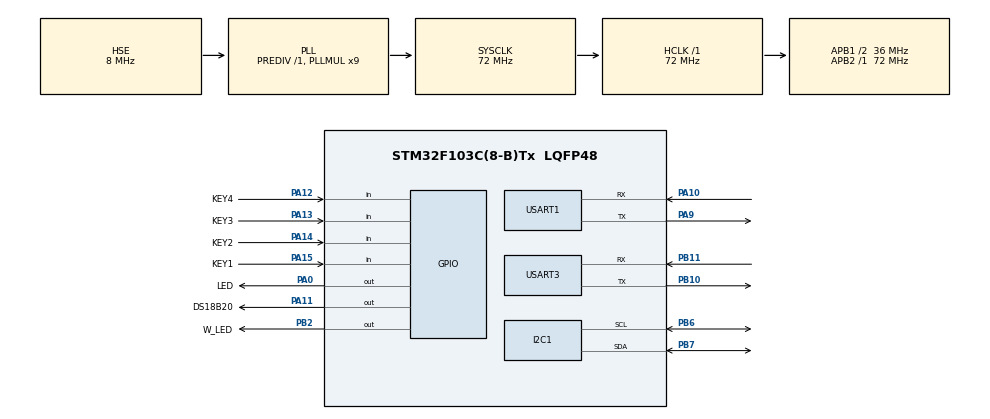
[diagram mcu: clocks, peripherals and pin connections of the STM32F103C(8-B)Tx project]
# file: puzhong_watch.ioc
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Dma.Request0=USART3_RX
Dma.USART3_RX.0.Direction=DMA_PERIPH_TO_MEMORY
Dma.USART3_RX.0.Instance=DMA1_Channel3
Dma.USART3_RX.0.MemDataAlignment=DMA_MDATAALIGN_BYTE
Dma.USART3_RX.0.MemInc=DMA_MINC_ENABLE
Dma.USART3_RX.0.Mode=DMA_NORMAL
Dma.USART3_RX.0.PeriphDataAlignment=DMA_PDATAALIGN_BYTE
Dma.USART3_RX.0.PeriphInc=DMA_PINC_DISABLE
Dma.USART3_RX.0.Priority=DMA_PRIORITY_LOW
I2C1.I2C_Mode=I2C_Fast
Mcu.Family=STM32F1
Mcu.Name=STM32F103C(8-B)Tx
Mcu.Package=LQFP48
NVIC.DMA1_Channel3_IRQn=true\:0\:0\:false\:false\:true\:false\:true\:true
NVIC.PriorityGroup=NVIC_PRIORITYGROUP_4
NVIC.RTC_IRQn=true\:0\:0\:false\:false\:true\:true\:true\:true
NVIC.USART1_IRQn=true\:0\:0\:false\:false\:true\:true\:true\:true
NVIC.USART3_IRQn=true\:0\:0\:false\:false\:true\:true\:true\:true
PA0-WKUP.GPIO_Label=LED
PA0-WKUP.PinState=GPIO_PIN_SET
PA0-WKUP.Signal=GPIO_Output
PA10.Mode=Asynchronous
PA10.Signal=USART1_RX
PA11.GPIO_Label=DS18B20
PA11.PinState=GPIO_PIN_SET
PA11.Signal=GPIO_Output
PA12.GPIO_Label=KEY4
PA12.GPIO_PuPd=GPIO_PULLUP
PA12.Signal=GPIO_Input
PA13.GPIO_Label=KEY3
PA13.GPIO_PuPd=GPIO_PULLUP
PA13.Signal=GPIO_Input
PA14.GPIO_Label=KEY2
PA14.GPIO_PuPd=GPIO_PULLUP
PA14.Signal=GPIO_Input
PA15.GPIO_Label=KEY1
PA15.GPIO_PuPd=GPIO_PULLUP
PA15.Signal=GPIO_Input
PA9.Mode=Asynchronous
PA9.Signal=USART1_TX
PB10.Mode=Asynchronous
PB10.Signal=USART3_TX
PB11.Mode=Asynchronous
PB11.Signal=USART3_RX
PB2.GPIO_Label=W_LED
PB2.PinState=GPIO_PIN_SET
PB2.Signal=GPIO_Output
PB6.Mode=I2C
PB6.Signal=I2C1_SCL
PB7.Mode=I2C
PB7.Signal=I2C1_SDA
PC14-OSC32_IN.Mode=LSE-External-Oscillator
PC14-OSC32_IN.Signal=RCC_OSC32_IN
PC15-OSC32_OUT.Mode=LSE-External-Oscillator
PC15-OSC32_OUT.Signal=RCC_OSC32_OUT
PD0-OSC_IN.Mode=HSE-External-Oscillator
PD0-OSC_IN.Signal=RCC_OSC_IN
PD1-OSC_OUT.Mode=HSE-External-Oscillator
PD1-OSC_OUT.Signal=RCC_OSC_OUT
ProjectManager.HeapSize=0x200
ProjectManager.StackSize=0x400
ProjectManager.TargetToolchain=MDK-ARM V5.32
RCC.AHBFreq_Value=72000000
RCC.APB1CLKDivider=RCC_HCLK_DIV2
RCC.APB1Freq_Value=36000000
RCC.APB1TimFreq_Value=72000000
RCC.APB2Freq_Value=72000000
RCC.APB2TimFreq_Value=72000000
RCC.HCLKFreq_Value=72000000
RCC.PLLMUL=RCC_PLL_MUL9
RCC.PLLSourceVirtual=RCC_PLLSOURCE_HSE
RCC.SYSCLKFreq_VALUE=72000000
RCC.SYSCLKSource=RCC_SYSCLKSOURCE_PLLCLK
RCC.USBFreq_Value=72000000
RTC.Format=RTC_FORMAT_BIN
USART1.VirtualMode=VM_ASYNC
USART3.VirtualMode=VM_ASYNC
VP_RTC_VS_RTC_Activate.Mode=RTC_Enabled
VP_RTC_VS_RTC_Calendar.Mode=RTC_Calendar
VP_SYS_VS_ND.Mode=No_Debug
board=custom

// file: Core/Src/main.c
/* USER CODE BEGIN Header */
/**
  ******************************************************************************
  * @file           : main.c
  * @brief          : Main program body
  ******************************************************************************
  * @attention
  *
  * Copyright (c) 2026 STMicroelectronics.
  * All rights reserved.
  *
  * This software is licensed under terms that can be found in the LICENSE file
  * in the root directory of this software component.
  * If no LICENSE file comes with this software, it is provided AS-IS.
  *
  ******************************************************************************
  */
/* USER CODE END Header */
#include "main.h"
#include "dma.h"
#include "i2c.h"
#include "rtc.h"
#include "usart.h"
#include "gpio.h"

/* USER CODE BEGIN Includes */
#include "ds18b20.h"
#include "oled.h"
#include <stdio.h>
#include <stdlib.h>
#include "mpu6050.h"
#include "max30102.h"
#include "esp8266.h"
#include "wifi.h"
/* USER CODE END Includes */

/* USER CODE BEGIN PV */
float temp;

RTC_TimeTypeDef getTime;
RTC_DateTypeDef getDate;

char timebuf[20];
char datebuf[20];
//MPU6050
int16_t ax,ay,az;
int step = 0;
int flag = 0;
uint32_t last_step_time = 0;
int last_acc = 0;
//MAX30102
uint32_t red=0,ir=0;

uint32_t tick_fast = 0;   // 用于传感器高频采样
uint32_t tick_slow = 0;   // 用于显示和温度低频更新
uint8_t  heart_rate = 0; // 心率初始值
uint8_t  spo2 = 0;       // 血氧初始值
uint32_t last_max30102_tick = 0;

//wifi
uint32_t tick_wifi = 0;      // 云端上传计时
uint8_t current_page = 0; // 0:时间, 1:健康, 2:计步

/* USER CODE END PV */

void SystemClock_Config(void);

/* USER CODE BEGIN 0 */

GPIO_PinState key_state;  // 存储按键状态
 uint8_t led_flag = 0;     // LED状态标志
 // 延时函数（消抖用，HAL库无自带短延时）
 void delay_ms(uint32_t ms) {
   HAL_Delay(ms);
 }

 void Calculate_HeartRate_SPO2(uint32_t red_val, uint32_t ir_val);
/* USER CODE END 0 */

int main(void)
{

  /* MCU Configuration--------------------------------------------------------*/

  /* Reset of all peripherals, Initializes the Flash interface and the Systick. */
  HAL_Init();

  /* Configure the system clock */
  SystemClock_Config();

  /* Initialize all configured peripherals */
  MX_GPIO_Init();
  MX_I2C1_Init();
  MX_DMA_Init();
  MX_RTC_Init();
  MX_USART3_UART_Init();
  MX_USART1_UART_Init();
  /* USER CODE BEGIN 2 */
	OLED_Init();
  // 这里放一次性的显示提示
  OLED_ShowString(0,0,"Initializing...");

	ESP_Init();
	HAL_Delay(3000); //等 3 秒让 WiFi 模块启动完成并喷完乱码

	DS18B20_Init();

	OLED_Clear();

	MPU6050_Init();

	MAX30102_Init();

		// 开机自动执行一次联网对时
/*	if(WiFi_Connect()) {
   Sync_Time_From_NowAPI();
		ThingsCloud_Init();
		//对时完成后，多等几秒再进 while 循环执行上报
    HAL_Delay(2000);
	}
*/
// 联网流程

if(WiFi_Connect()) {
    Sync_Time_From_NowAPI();
    HAL_Delay(1000);
    if(ThingsCloud_Init()) {
        // 只有连接成功才显示 OK
    } else {
        // 即使失败也打印到串口辅助调试
        HAL_UART_Transmit(&huart1, (uint8_t*)"MQTT Init Failed\r\n", 18, 100);
    }
} else {
    OLED_ShowString(0, 2, "WiFi Connect Fail");
}
OLED_Clear();
		//====MPU6050====

		//==MAX30102====

  /* USER CODE END 2 */

  /* Infinite loop */
  /* USER CODE BEGIN WHILE */
/* USER CODE BEGIN WHILE */

    while (1)
  {
		uint8_t temp;
    // WiFi -> 电脑
    if (HAL_UART_Receive(&huart3, &temp, 1, 0) == HAL_OK) {
        HAL_UART_Transmit(&huart1, &temp, 1, 0);
    }
    // 电脑 -> WiFi
    if (HAL_UART_Receive(&huart1, &temp, 1, 0) == HAL_OK) {
        HAL_UART_Transmit(&huart3, &temp, 1, 0);
    }
		/*
		 uint8_t dat;

    //电脑(USART1) -> WiFi(USART3)  检查电脑有没有发指令过来
    if (HAL_UART_Receive(&huart1, &dat, 1, 0) == HAL_OK)
    {
        HAL_UART_Transmit(&huart3, &dat, 1, 10);
    }

		//WiFi(USART3) -> 电脑(USART1)  看看 WiFi 到底回了什么
uint8_t wifi_dat;
if (HAL_UART_Receive(&huart3, &wifi_dat, 1, 0) == HAL_OK)
{
    HAL_UART_Transmit(&huart1, &wifi_dat, 1, 10);
}
*//*
    // --- 1. 按键扫描与逻辑处理 (每 50ms 检测一次，保证灵敏度) ---
    if (HAL_GetTick() - tick_fast >= 50) {
        tick_fast = HAL_GetTick();

        // KEY2 (PA14) -> 右滑 (切换页面)
        if(HAL_GPIO_ReadPin(GPIOA, GPIO_PIN_14) == GPIO_PIN_RESET) {
            HAL_Delay(20); // 消抖
            if(HAL_GPIO_ReadPin(GPIOA, GPIO_PIN_14) == GPIO_PIN_RESET) {
                current_page = (current_page + 1) % 3; // 在3个页面间循环
                OLED_Clear();
                while(HAL_GPIO_ReadPin(GPIOA, GPIO_PIN_14) == GPIO_PIN_RESET); // 等待松开
            }
        }

        // KEY1 (PA15) -> 控制 LED1
        if(HAL_GPIO_ReadPin(GPIOA, GPIO_PIN_15) == GPIO_PIN_RESET) {
            HAL_Delay(20);
            if(HAL_GPIO_ReadPin(GPIOA, GPIO_PIN_15) == GPIO_PIN_RESET) {
                led_flag = !led_flag;
                HAL_GPIO_WritePin(GPIOA, GPIO_PIN_0, led_flag ? GPIO_PIN_RESET : GPIO_PIN_SET);
                while(HAL_GPIO_ReadPin(GPIOA, GPIO_PIN_15) == GPIO_PIN_RESET);
            }
        }

        // KEY4 (PA12) -> 返回第一页
        if(HAL_GPIO_ReadPin(GPIOA, GPIO_PIN_12) == GPIO_PIN_RESET) {
            current_page = 0;
            OLED_Clear();
        }
    }

    // --- 2. 传感器采样任务 (心率血氧/计步，高频) ---
    if (HAL_GetTick() - last_max30102_tick >= 40) {
        last_max30102_tick = HAL_GetTick();

        // (A) 心率血氧采集
        MAX30102_ReadFIFO(&red, &ir);
        if (ir > 40000) {
            Calculate_HeartRate_SPO2(red, ir);
        } else {
            heart_rate = 0; spo2 = 0;
        }

        // (B) 计步采集
        // MPU6050_ReadAccel(&ax, &ay, &az);
        // 简易计步算法逻辑放这里...
    }

    // --- 3. UI 刷新与慢速传感器 (时间/温度，每500ms刷新一次) ---
    if (HAL_GetTick() - tick_slow >= 500) {
        tick_slow = HAL_GetTick();

        // 更新公共数据：时间和温度
        HAL_RTC_GetTime(&hrtc, &getTime, RTC_FORMAT_BIN);
        HAL_RTC_GetDate(&hrtc, &getDate, RTC_FORMAT_BIN);
        temp = DS18B20_GetTemp();

        // 根据当前页面显示不同内容
        if (current_page == 0) { // 页面0：时间与温度
            sprintf(timebuf, "Time: %02d:%02d:%02d", getTime.Hours, getTime.Minutes, getTime.Seconds);
            OLED_ShowString(0, 0, timebuf);
            sprintf(datebuf, "Date: 20%02d-%02d-%02d", getDate.Year, getDate.Month, getDate.Date);
            OLED_ShowString(0, 2, datebuf);

            int a = (int)temp;
            int b = (int)((temp - a) * 10);
						char temp_str[20];
						sprintf(temp_str, "Temp: %2d.%1d C   ", a, b);
						OLED_ShowString(0, 4, temp_str);
            //OLED_ShowString(0, 4, "Temp: ");
            //OLED_ShowNum(48, 4, a, 2); OLED_ShowChar(60, 4, '.'); OLED_ShowNum(66, 4, b, 1);
        }
        else if (current_page == 1) { // 页面1：心率与血氧
            OLED_ShowString(0, 0, "--- Health ---");
            OLED_ShowString(0, 2, "HR: ");
            if(heart_rate > 0) OLED_ShowNum(40, 2, heart_rate, 3);
            else OLED_ShowString(40, 2, "Wait");
            OLED_ShowString(75, 2, "BPM");

            OLED_ShowString(0, 4, "SpO2:");
            if(spo2 > 0) OLED_ShowNum(40, 4, spo2, 3);
            else OLED_ShowString(40, 4, "Wait");
            OLED_ShowString(75, 4, "%");
        }
        else if (current_page == 2) { // 页面2：计步与状态
            OLED_ShowString(0, 0, "--- Sport ---");
            OLED_ShowString(0, 2, "Steps:");
            OLED_ShowNum(50, 2, step, 5);
            OLED_ShowString(0, 4, "WiFi: Connected");
        }
    }

    // --- 4. WiFi 云端上传任务 (每 20 秒上报一次数据) ---
    if (HAL_GetTick() - tick_wifi >= 30000) {
        tick_wifi = HAL_GetTick();

        // 调用封装在 wifi_app.c 里的函数上传数据
         ThingsCloud_Upload(heart_rate, spo2, temp, step);
    }
 */
    /* USER CODE END WHILE */

  }
}

void SystemClock_Config(void)
{
  RCC_OscInitTypeDef RCC_OscInitStruct = {0};
  RCC_ClkInitTypeDef RCC_ClkInitStruct = {0};
  RCC_PeriphCLKInitTypeDef PeriphClkInit = {0};

  /** Initializes the RCC Oscillators according to the specified parameters
  * in the RCC_OscInitTypeDef structure.
  */
  RCC_OscInitStruct.OscillatorType = RCC_OSCILLATORTYPE_LSI|RCC_OSCILLATORTYPE_HSE;
  RCC_OscInitStruct.HSEState = RCC_HSE_ON;
  RCC_OscInitStruct.HSEPredivValue = RCC_HSE_PREDIV_DIV1;
  RCC_OscInitStruct.HSIState = RCC_HSI_ON;
  RCC_OscInitStruct.LSIState = RCC_LSI_ON;
  RCC_OscInitStruct.PLL.PLLState = RCC_PLL_ON;
  RCC_OscInitStruct.PLL.PLLSource = RCC_PLLSOURCE_HSE;
  RCC_OscInitStruct.PLL.PLLMUL = RCC_PLL_MUL9;
  if (HAL_RCC_OscConfig(&RCC_OscInitStruct) != HAL_OK)
  {
    Error_Handler();
  }

  /** Initializes the CPU, AHB and APB buses clocks
  */
  RCC_ClkInitStruct.ClockType = RCC_CLOCKTYPE_HCLK|RCC_CLOCKTYPE_SYSCLK
                              |RCC_CLOCKTYPE_PCLK1|RCC_CLOCKTYPE_PCLK2;
  RCC_ClkInitStruct.SYSCLKSource = RCC_SYSCLKSOURCE_PLLCLK;
  RCC_ClkInitStruct.AHBCLKDivider = RCC_SYSCLK_DIV1;
  RCC_ClkInitStruct.APB1CLKDivider = RCC_HCLK_DIV2;
  RCC_ClkInitStruct.APB2CLKDivider = RCC_HCLK_DIV1;

  if (HAL_RCC_ClockConfig(&RCC_ClkInitStruct, FLASH_LATENCY_2) != HAL_OK)
  {
    Error_Handler();
  }
  PeriphClkInit.PeriphClockSelection = RCC_PERIPHCLK_RTC;
  PeriphClkInit.RTCClockSelection = RCC_RTCCLKSOURCE_LSI;
  if (HAL_RCCEx_PeriphCLKConfig(&PeriphClkInit) != HAL_OK)
  {
    Error_Handler();
  }
}

/* USER CODE BEGIN 4 */
//计算心率血氧
void Calculate_HeartRate_SPO2(uint32_t red_val, uint32_t ir_val)
{
    static uint32_t last_beat_time = 0;
    static float ir_avg = 0;

    if(ir_avg < 1.0) ir_avg = ir_val;
    ir_avg = ir_avg * 0.98 + (float)ir_val * 0.02; // 平滑滤波

    // 阈值设为 1.005 (即超过平均值 0.5% 就认为是一次心跳)
    if (ir_val > (uint32_t)(ir_avg * 1.005) && (HAL_GetTick() - last_beat_time > 450))
    {
        uint32_t interval = HAL_GetTick() - last_beat_time;
        if (interval < 1500) {
            heart_rate = 60000 / interval;
        }
        last_beat_time = HAL_GetTick();
    }

    // 血氧计算
    float ratio = (float)red_val / (float)ir_val;
    if (ratio > 0.5 && ratio < 1.2) {
        spo2 = (uint8_t)(110 - 15 * ratio);
        if (spo2 > 100) spo2 = 100;
    } else {
        spo2 = 98; // 默认值
    }
}

/* USER CODE END 4 */

void Error_Handler(void)
{
  __disable_irq();
  while (1)
  {
  }
}
